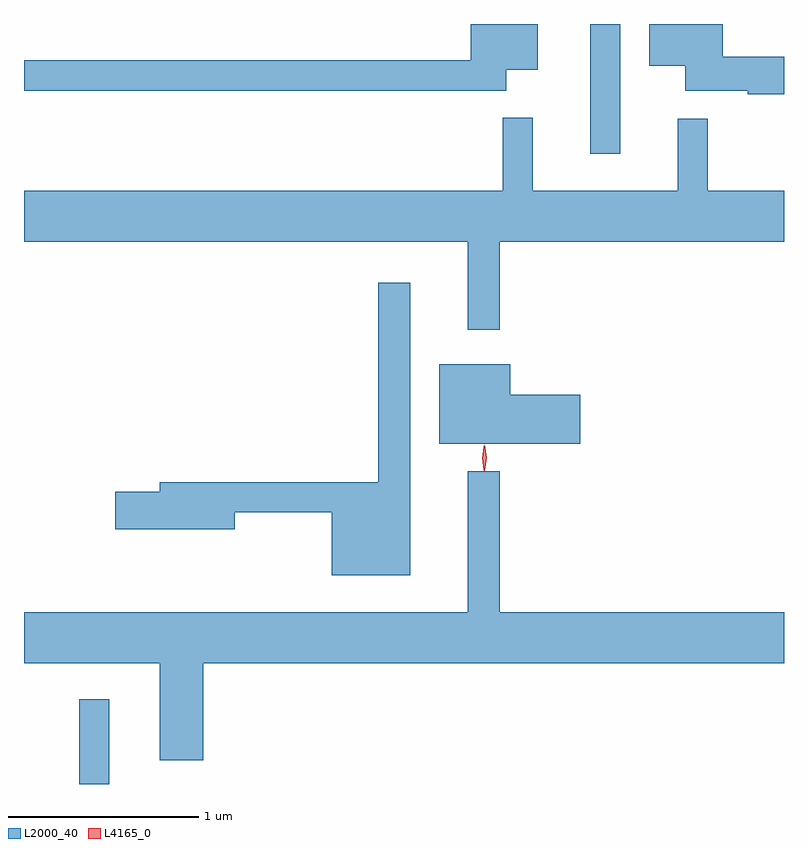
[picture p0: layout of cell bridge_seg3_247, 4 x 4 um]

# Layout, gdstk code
import gdstk
lib = gdstk.Library(unit=1e-6, precision=1e-09)
def R(c, l, rs):  # rectangles x0, y0, x1, y1
    for r in rs: c.add(gdstk.rectangle(r[:2], r[2:], *l))
def P(c, l, *ps):  # polygons
    for p in ps: c.add(gdstk.Polygon(p, *l))
L2000_40 = (2000, 40)
L4165_0 = (4165, 0)

bridge_seg3_247 = lib.new_cell('bridge_seg3_247')
R(bridge_seg3_247, L2000_40, [(969.876,1127.601,970.034,1128.048), (972.566,1130.918,972.724,1131.601)])
P(bridge_seg3_247, L2000_40, [(972.124,1131.361),(972.289,1131.361),(972.289,1131.601),(971.936,1131.601),(971.936,1131.409),(969.586,1131.409),(969.586,1131.251),(972.124,1131.251)],
  [(973.586,1131.429),(973.264,1131.429),(973.264,1131.601),(972.876,1131.601),(972.876,1131.381),(973.066,1131.381),(973.066,1131.251),(973.396,1131.251),(973.396,1131.231),(973.586,1131.231)],
  [(972.089,1130.456),(973.586,1130.456),(973.586,1130.724),(973.184,1130.724),(973.184,1131.103),(973.026,1131.103),(973.026,1130.724),(972.264,1130.724),(972.264,1131.108),(972.106,1131.108),(972.106,1130.724),(969.586,1130.724),(969.586,1130.456),(971.921,1130.456),(971.921,1129.993),(972.089,1129.993)],
  [(971.619,1130.238),(971.451,1130.238),(971.451,1129.189),(970.301,1129.189),(970.301,1129.139),(970.066,1129.139),(970.066,1128.941),(970.694,1128.941),(970.694,1129.031),(971.206,1129.031),(971.206,1128.701),(971.619,1128.701)],
  [(972.514,1129.649),(972.144,1129.649),(972.144,1129.809),(971.771,1129.809),(971.771,1129.391),(972.514,1129.391)],
  [(970.529,1128.236),(973.586,1128.236),(973.586,1128.504),(972.089,1128.504),(972.089,1129.248),(971.921,1129.248),(971.921,1128.504),(969.586,1128.504),(969.586,1128.236),(970.301,1128.236),(970.301,1127.726),(970.529,1127.726)])
P(bridge_seg3_247, L4165_0, [(972.009,1129.25),(972.001,1129.318),(972.011,1129.386),(972.012,1129.386),(972.012,1129.386),(972.021,1129.318),(972.01,1129.25),(972.01,1129.25)],
  [(972.007,1129.253),(972.007,1129.254),(971.998,1129.316),(972.007,1129.379),(972.007,1129.38),(972.008,1129.379),(972.017,1129.316),(972.008,1129.254)])

lib.write_gds('bridge_seg3_247.gds')
